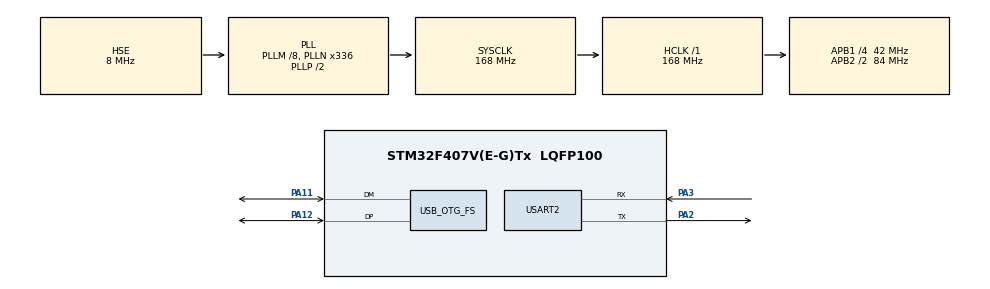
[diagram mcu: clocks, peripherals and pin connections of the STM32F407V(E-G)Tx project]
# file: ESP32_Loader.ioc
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Mcu.Family=STM32F4
Mcu.Name=STM32F407V(E-G)Tx
Mcu.Package=LQFP100
NVIC.OTG_FS_IRQn=true\:0\:0\:false\:false\:true\:false\:true\:true
NVIC.PriorityGroup=NVIC_PRIORITYGROUP_4
NVIC.USART2_IRQn=true\:0\:0\:false\:false\:true\:true\:true\:true
PA11.Mode=Device_Only
PA11.Signal=USB_OTG_FS_DM
PA12.Mode=Device_Only
PA12.Signal=USB_OTG_FS_DP
PA2.Mode=Asynchronous
PA2.Signal=USART2_TX
PA3.Mode=Asynchronous
PA3.Signal=USART2_RX
PH0-OSC_IN.Mode=HSE-External-Oscillator
PH0-OSC_IN.Signal=RCC_OSC_IN
PH1-OSC_OUT.Mode=HSE-External-Oscillator
PH1-OSC_OUT.Signal=RCC_OSC_OUT
ProjectManager.HeapSize=0x200
ProjectManager.StackSize=0x400
ProjectManager.TargetToolchain=STM32CubeIDE
RCC.48MHZClocksFreq_Value=48000000
RCC.AHBFreq_Value=168000000
RCC.APB1CLKDivider=RCC_HCLK_DIV4
RCC.APB1Freq_Value=42000000
RCC.APB1TimFreq_Value=84000000
RCC.APB2CLKDivider=RCC_HCLK_DIV2
RCC.APB2Freq_Value=84000000
RCC.APB2TimFreq_Value=168000000
RCC.CortexFreq_Value=168000000
RCC.HCLKFreq_Value=168000000
RCC.HSE_VALUE=8000000
RCC.HSI_VALUE=16000000
RCC.LSE_VALUE=32768
RCC.PLLM=8
RCC.PLLN=336
RCC.PLLQ=7
RCC.SYSCLKFreq_VALUE=168000000
RCC.SYSCLKSource=RCC_SYSCLKSOURCE_PLLCLK
RCC.VCOOutputFreq_Value=336000000
USART2.VirtualMode=VM_ASYNC
USB_DEVICE.CLASS_NAME_FS=CDC
USB_DEVICE.VirtualMode-CDC_FS=Cdc
USB_DEVICE.VirtualModeFS=Cdc_FS
USB_OTG_FS.VirtualMode=Device_Only
VP_USB_DEVICE_VS_USB_DEVICE_CDC_FS.Mode=CDC_FS
board=custom

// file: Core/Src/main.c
/* USER CODE BEGIN Header */
/**
  ******************************************************************************
  * @file           : main.c
  * @brief          : Main program body
  ******************************************************************************
  * @attention
  *
  * Copyright (c) 2026 STMicroelectronics.
  * All rights reserved.
  *
  * This software is licensed under terms that can be found in the LICENSE file
  * in the root directory of this software component.
  * If no LICENSE file comes with this software, it is provided AS-IS.
  *
  ******************************************************************************
  */
/* USER CODE END Header */
#include "main.h"
#include "usb_device.h"

/* USER CODE BEGIN Includes */
/* USER CODE BEGIN Includes */
#include "usbd_cdc_if.h"
/* USER CODE END Includes */
/* USER CODE BEGIN PV */
#define RX_BUFFER_SIZE 512
uint8_t rx_buffer[RX_BUFFER_SIZE];
volatile uint16_t rx_head = 0;
volatile uint16_t rx_tail = 0;
uint8_t uart_rx_byte;
/* USER CODE END PV */
/* USER CODE BEGIN PV */
uint8_t uart_rx_byte;
/* USER CODE END PV */
/* USER CODE END Includes */

UART_HandleTypeDef huart2;

void SystemClock_Config(void);
static void MX_GPIO_Init(void);
static void MX_USART2_UART_Init(void);

int main(void)
{

  /* MCU Configuration--------------------------------------------------------*/

  /* Reset of all peripherals, Initializes the Flash interface and the Systick. */
  HAL_Init();

  /* Configure the system clock */
  SystemClock_Config();

  /* Initialize all configured peripherals */
  MX_GPIO_Init();
  MX_USART2_UART_Init();
  MX_USB_DEVICE_Init();

  /* Infinite loop */
  while (1)
  {
	  /* USER CODE BEGIN 2 */
	    HAL_UART_Receive_IT(&huart2, &uart_rx_byte, 1);
	    /* USER CODE END 2 */
	    if (rx_head != rx_tail)
	        {
	          uint8_t byte_to_send = rx_buffer[rx_tail];
	          if (CDC_Transmit_FS(&byte_to_send, 1) == USBD_OK)
	          {
	            rx_tail = (rx_tail + 1) % RX_BUFFER_SIZE;
	          }
	        }
  }
}

void SystemClock_Config(void)
{
  RCC_OscInitTypeDef RCC_OscInitStruct = {0};
  RCC_ClkInitTypeDef RCC_ClkInitStruct = {0};

  /** Configure the main internal regulator output voltage
  */
  __HAL_RCC_PWR_CLK_ENABLE();
  __HAL_PWR_VOLTAGESCALING_CONFIG(PWR_REGULATOR_VOLTAGE_SCALE1);

  /** Initializes the RCC Oscillators according to the specified parameters
  * in the RCC_OscInitTypeDef structure.
  */
  RCC_OscInitStruct.OscillatorType = RCC_OSCILLATORTYPE_HSE;
  RCC_OscInitStruct.HSEState = RCC_HSE_ON;
  RCC_OscInitStruct.PLL.PLLState = RCC_PLL_ON;
  RCC_OscInitStruct.PLL.PLLSource = RCC_PLLSOURCE_HSE;
  RCC_OscInitStruct.PLL.PLLM = 8;
  RCC_OscInitStruct.PLL.PLLN = 336;
  RCC_OscInitStruct.PLL.PLLP = RCC_PLLP_DIV2;
  RCC_OscInitStruct.PLL.PLLQ = 7;
  if (HAL_RCC_OscConfig(&RCC_OscInitStruct) != HAL_OK)
  {
    Error_Handler();
  }

  /** Initializes the CPU, AHB and APB buses clocks
  */
  RCC_ClkInitStruct.ClockType = RCC_CLOCKTYPE_HCLK|RCC_CLOCKTYPE_SYSCLK
                              |RCC_CLOCKTYPE_PCLK1|RCC_CLOCKTYPE_PCLK2;
  RCC_ClkInitStruct.SYSCLKSource = RCC_SYSCLKSOURCE_PLLCLK;
  RCC_ClkInitStruct.AHBCLKDivider = RCC_SYSCLK_DIV1;
  RCC_ClkInitStruct.APB1CLKDivider = RCC_HCLK_DIV4;
  RCC_ClkInitStruct.APB2CLKDivider = RCC_HCLK_DIV2;

  if (HAL_RCC_ClockConfig(&RCC_ClkInitStruct, FLASH_LATENCY_5) != HAL_OK)
  {
    Error_Handler();
  }
}

static void MX_USART2_UART_Init(void)
{

  huart2.Instance = USART2;
  huart2.Init.BaudRate = 115200;
  huart2.Init.WordLength = UART_WORDLENGTH_8B;
  huart2.Init.StopBits = UART_STOPBITS_1;
  huart2.Init.Parity = UART_PARITY_NONE;
  huart2.Init.Mode = UART_MODE_TX_RX;
  huart2.Init.HwFlowCtl = UART_HWCONTROL_NONE;
  huart2.Init.OverSampling = UART_OVERSAMPLING_16;
  if (HAL_UART_Init(&huart2) != HAL_OK)
  {
    Error_Handler();
  }

}

static void MX_GPIO_Init(void)
{

  /* GPIO Ports Clock Enable */
  __HAL_RCC_GPIOH_CLK_ENABLE();
  __HAL_RCC_GPIOA_CLK_ENABLE();

}

/* USER CODE BEGIN 4 */
/* USER CODE BEGIN 4 */
void HAL_UART_RxCpltCallback(UART_HandleTypeDef *huart)
{
  if(huart->Instance == USART2)
  {
    uint16_t next_head = (rx_head + 1) % RX_BUFFER_SIZE;
    if (next_head != rx_tail) // Prevent buffer overflow
    {
      rx_buffer[rx_head] = uart_rx_byte;
      rx_head = next_head;
    }
    HAL_UART_Receive_IT(&huart2, &uart_rx_byte, 1);
  }
}

void HAL_UART_ErrorCallback(UART_HandleTypeDef *huart)
{
  if(huart->Instance == USART2)
  {
    __HAL_UART_CLEAR_OREFLAG(huart);
    HAL_UART_Receive_IT(&huart2, &uart_rx_byte, 1);
  }
}
/* USER CODE END 4 */
/* USER CODE END 4 */
void Error_Handler(void)
{
  __disable_irq();
  while (1)
  {
  }
}
